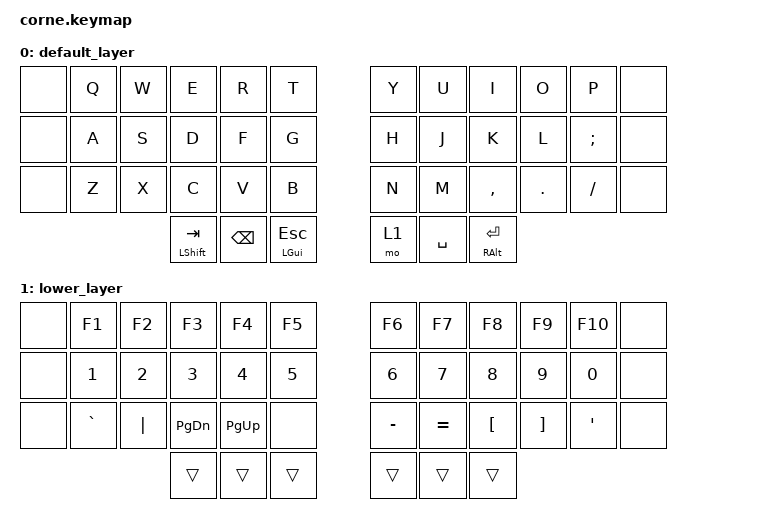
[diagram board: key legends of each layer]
/*
* Copyright (c) 2020 The ZMK Contributors
*

 * SPDX-License-Identifier: MIT
 */

#include <behaviors.dtsi>
#include <dt-bindings/zmk/keys.h>
#include <dt-bindings/zmk/bt.h>

/ {
    keymap {
        compatible = "zmk,keymap";

        default_layer {
            bindings = <
                &none   &kp Q      &kp W      &kp E        &kp R       &kp T        &kp Y       &kp U        &kp I       &kp O       &kp P 	   &none
                &none   &kp A      &kp S      &kp D        &kp F       &kp G        &kp H       &kp J        &kp K       &kp L       &kp SEMI    &none
            	&none   &kp Z      &kp X      &kp C        &kp V       &kp B        &kp N       &kp M        &kp COMMA   &kp DOT     &kp FSLH    &none

                		&mt LSHFT TAB   &kp BSPC   &mt LGUI ESC     &mo 1   &kp SPACE &mt RALT ENTER
            >;
        };

		lower_layer {
			bindings = <
				&none   &kp F1     &kp F2     &kp F3       &kp F4       &kp F5       &kp F6       &kp F7       &kp F8       &kp F9       &kp F10 	&none
				&none   &kp N1     &kp N2     &kp N3       &kp N4       &kp N5       &kp N6       &kp N7       &kp N8       &kp N9       &kp N0 	&none
				&none   &kp GRAVE  &kp PIPE   &kp PG_DN    &kp PG_UP    &none        &kp MINUS    &kp EQUAL    &kp LBKT     &kp RBKT     &kp SQT 	&none

						&trans   &trans   &trans                  					&trans    &trans   &trans
			>;
		};

    };
};

&mt {
    quick_tap_ms = <0>;
	tapping-term-ms = <120>;
    flavor = "tap-preferred";
};

&lt {
    quick_tap_ms = <0>;
	tapping-term-ms = <120>;
    flavor = "tap-preferred";
};

